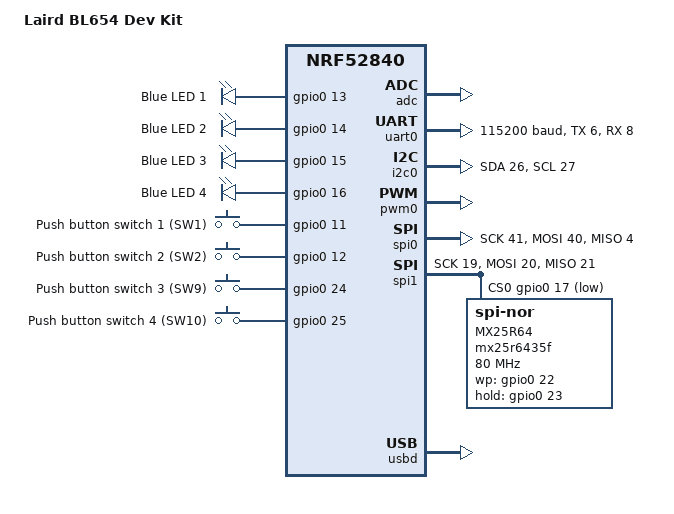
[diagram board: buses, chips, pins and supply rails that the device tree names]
/*
 * Copyright (c) 2019 Laird Connectivity
 *
 * SPDX-License-Identifier: Apache-2.0
 */

/dts-v1/;
#include <nordic/nrf52840_qiaa.dtsi>

/ {
	model = "Laird BL654 Dev Kit";
	compatible = "nordic,pca10056-dk";

	chosen {
		zephyr,console = &uart0;
		zephyr,shell-uart = &uart0;
		zephyr,uart-mcumgr = &uart0;
		zephyr,bt-mon-uart = &uart0;
		zephyr,bt-c2h-uart = &uart0;
		zephyr,sram = &sram0;
		zephyr,flash = &flash0;
		zephyr,code-partition = &slot0_partition;
	};

	leds {
		compatible = "gpio-leds";
		led1: led_1 {
			gpios = <&gpio0 13 GPIO_ACTIVE_HIGH>;
			label = "Blue LED 1";
		};
		led2: led_2 {
			gpios = <&gpio0 14 GPIO_ACTIVE_HIGH>;
			label = "Blue LED 2";
		};
		led3: led_3 {
			gpios = <&gpio0 15 GPIO_ACTIVE_HIGH>;
			label = "Blue LED 3";
		};
		led4: led_4 {
			gpios = <&gpio0 16 GPIO_ACTIVE_HIGH>;
			label = "Blue LED 4";
		};
	};

	buttons {
		compatible = "gpio-keys";
		button1: button_1 {
			gpios = <&gpio0 11 GPIO_PULL_UP>;
			label = "Push button switch 1 (SW1)";
		};
		button2: button_2 {
			gpios = <&gpio0 12 GPIO_PULL_UP>;
			label = "Push button switch 2 (SW2)";
		};
		button3: button_3 {
			gpios = <&gpio0 24 GPIO_PULL_UP>;
			label = "Push button switch 3 (SW9)";
		};
		button4: button_4 {
			gpios = <&gpio0 25 GPIO_PULL_UP>;
			label = "Push button switch 4 (SW10)";
		};
	};

	/* These aliases are provided for compatibility with samples */
	aliases {
		led0 = &led1;
		led1 = &led2;
		led2 = &led3;
		led3 = &led4;
		/* sw0 is useful to be compatible with BL654_DVK Zephyr samples */
		sw0 = &button1;
		/* button-1 is useful to be consistent with LBLGT01, WBLGT01 and WBLGT02 */
		button-1 = &button1;
		sw1 = &button2;
		sw2 = &button3;
		sw3 = &button4;
	};
};

&adc {
	status = "okay";
};

&gpiote {
	status = "okay";
};

&gpio0 {
	status = "okay";
};

&gpio1 {
	status = "okay";
};

&uart0 {
	compatible = "nordic,nrf-uart";
	current-speed = <115200>;
	status = "okay";
	tx-pin = <6>;
	rx-pin = <8>;
	rts-pin = <5>;
	cts-pin = <7>;
};

&i2c0 {
	compatible = "nordic,nrf-twi";
	status = "okay";
	sda-pin = <26>;
	scl-pin = <27>;
};

&pwm0 {
	status = "okay";
	ch0-pin = <13>;
};

&spi0 {
	compatible = "nordic,nrf-spi";
	/* Cannot be used together with i2c0. */
	/* status = "okay"; */
	sck-pin = <41>;
	mosi-pin = <40>;
	miso-pin = <4>;
	cs-gpios = <&gpio1 12 GPIO_ACTIVE_LOW>;
};

&spi1 {
	compatible = "nordic,nrf-spi";
	status = "okay";
	sck-pin = <19>;
	mosi-pin = <20>;
	miso-pin = <21>;
	cs-gpios = <&gpio0 17 GPIO_ACTIVE_LOW>;
	mx25r6435f@0 {
		compatible = "jedec,spi-nor";
		reg = <0>;
		spi-max-frequency = <80000000>;
		label = "MX25R64";
		jedec-id = [c2 28 17];
		size = <67108864>;
		wp-gpios = <&gpio0 22 0>;
		hold-gpios = <&gpio0 23 0>;
	};
};

&flash0 {

	partitions {
		compatible = "fixed-partitions";
		#address-cells = <1>;
		#size-cells = <1>;

		boot_partition: partition@0 {
			label = "mcuboot";
			reg = <0x000000000 0x0003a000>;
		};
		/*
		 * Overlap "storage_partition"
		 * Mandatory to update file system over the air
		 *
		 * The SMP server stops writing in flash when 
		 * it reaches the end of the partition (here slot0). 
		 * However, we want to transmit Janus (slot0) 
		 * and the file system (storage_partition). 
		 * By enlarging the slot0 partition we simulate a larger
		 * image that would contain Janus and the file system.
		 * Thus, the SMP server can write Janus and 
		 * the file system in flash.
		 */
		slot0_partition: partition@3a000 {
			label = "image-0";
			reg = <0x0003a000 0x000c6000>;
		};
		/*
		 * Phantom partition: DO NOT USE
		 * Only here to allow SMP server flags building
		 * For more details see internal Gitlab project 'aurora' (README.md)
		 */
		slot1_partition: partition@3a001 {
			label = "image-1";
			reg = <0x0003a001 0x00000001>;
		};

		/*
		 * The flash starting at 0x000f8000 and ending at
		 * 0x000fffff is reserved for use by the application.
		 */

		/*
		 * Storage partition will be used by FCB/LittleFS/NVS
		 * if enabled.
		 */
		storage_partition: partition@f8000 {
			label = "storage";
			reg = <0x000f8000 0x00008000>;
		};
	};
};

&usbd {
	compatible = "nordic,nrf-usbd";
	status = "okay";
};
